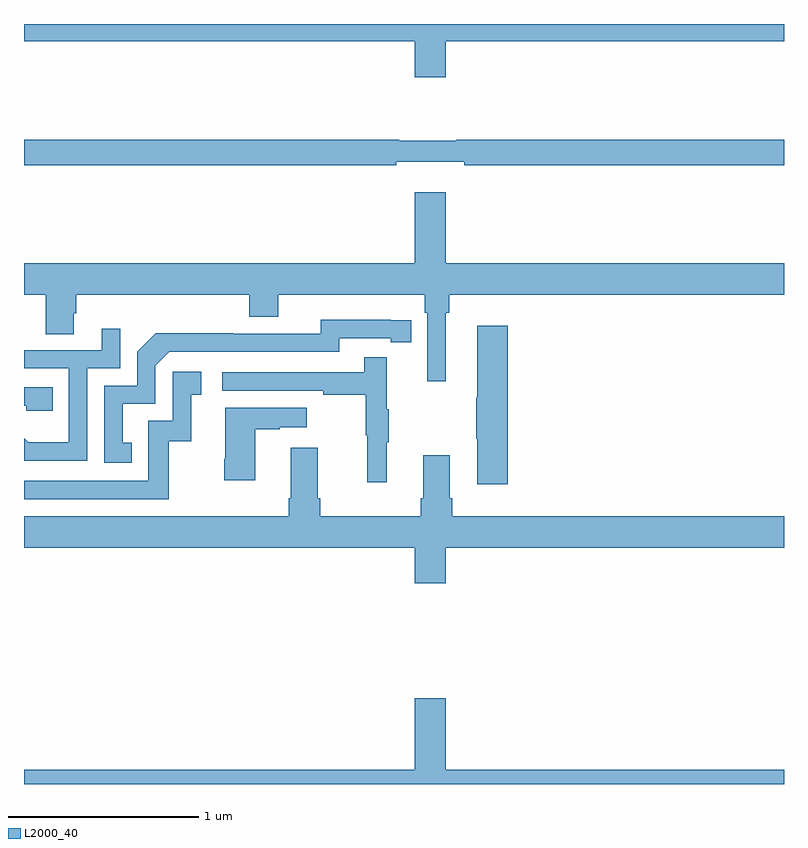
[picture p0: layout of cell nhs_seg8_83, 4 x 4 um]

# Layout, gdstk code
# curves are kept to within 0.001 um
import gdstk
lib = gdstk.Library(unit=1e-6, precision=1e-09)
def P(c, l, *ps):  # polygons
    for p in ps: c.add(gdstk.Polygon(p, *l))
L2000_40 = (2000, 40)

nhs_seg8_83 = lib.new_cell('nhs_seg8_83')
P(nhs_seg8_83, L2000_40, [(117.22,1141.808),(119,1141.808),(119,1141.9),(115,1141.9),(115,1141.808),(117.056,1141.808),(117.056,1141.62),(117.22,1141.62)],
  [(116.96,1141.175),(117.316,1141.175),(117.316,1141.156),(119,1141.156),(119,1141.292),(117.275,1141.292),(117.275,1141.285),(116.975,1141.285),(116.975,1141.292),(115,1141.292),(115,1141.156),(116.96,1141.156)],
  [(117.22,1140.38),(117.239,1140.38),(117.239,1140.476),(119,1140.476),(119,1140.64),(117.22,1140.64),(117.22,1141.015),(117.056,1141.015),(117.056,1140.64),(115,1140.64),(115,1140.476),(115.114,1140.476),(115.114,1140.268),(115.261,1140.268),(115.261,1140.378),(115.274,1140.378),(115.274,1140.476),(116.186,1140.476),(116.186,1140.359),(116.338,1140.359),(116.338,1140.476),(117.11,1140.476),(117.11,1140.38),(117.123,1140.38),(117.123,1140.021),(117.22,1140.021)],
  [(115.568,1139.697),(115.519,1139.697),(115.519,1139.901),(115.692,1139.901),(115.692,1140.102),(115.764,1140.174),(116.658,1140.174),(116.658,1140.246),(116.93,1140.246),(116.93,1140.226),(117.038,1140.226),(117.038,1140.342),(116.562,1140.343),(116.562,1140.27),(116.102,1140.27),(116.102,1140.272),(115.694,1140.272),(115.596,1140.174),(115.596,1139.997),(115.422,1139.997),(115.422,1139.592),(115.568,1139.592)],
  [(117.545,1140.313),(117.386,1140.313),(117.386,1139.933),(117.379,1139.933),(117.379,1139.716),(117.386,1139.716),(117.386,1139.478),(117.545,1139.478)],
  [(115.332,1140.087),(115.506,1140.087),(115.506,1140.295),(115.409,1140.295),(115.409,1140.183),(115,1140.183),(115,1140.087),(115.236,1140.087),(115.236,1139.698),(115.022,1139.698),(115,1139.72),(115,1139.601),(115.332,1139.601)],
  [(116.909,1139.699),(116.92,1139.699),(116.92,1139.873),(116.909,1139.873),(116.909,1140.145),(116.791,1140.145),(116.791,1140.066),(116.043,1140.066),(116.043,1139.97),(116.575,1139.97),(116.575,1139.95),(116.799,1139.95),(116.799,1139.736),(116.806,1139.736),(116.806,1139.487),(116.909,1139.487)],
  [(115.762,1139.703),(115.88,1139.703),(115.88,1139.949),(115.933,1139.949),(115.933,1140.07),(115.782,1140.07),(115.782,1139.811),(115.653,1139.811),(115.653,1139.496),(115,1139.496),(115,1139.4),(115.762,1139.4)],
  [(115.151,1139.988),(115,1139.988),(115,1139.892),(115.011,1139.892),(115.011,1139.865),(115.151,1139.865)],
  [(116.218,1139.767),(116.345,1139.767),(116.345,1139.777),(116.488,1139.777),(116.488,1139.881),(116.06,1139.881),(116.06,1139.611),(116.053,1139.611),(116.053,1139.499),(116.218,1139.499)],
  [(117.22,1139.144),(119,1139.144),(119,1139.308),(117.254,1139.308),(117.254,1139.404),(117.241,1139.404),(117.241,1139.629),(117.101,1139.629),(117.101,1139.404),(117.089,1139.404),(117.089,1139.308),(116.558,1139.308),(116.558,1139.404),(116.545,1139.404),(116.545,1139.671),(116.405,1139.671),(116.405,1139.404),(116.393,1139.404),(116.393,1139.308),(115,1139.308),(115,1139.144),(117.056,1139.144),(117.056,1138.956),(117.22,1138.956)],
  [(119,1137.976),(117.22,1137.976),(117.22,1138.351),(117.056,1138.351),(117.056,1137.976),(115,1137.976),(115,1137.9),(119,1137.9)])

lib.write_gds('nhs_seg8_83.gds')
